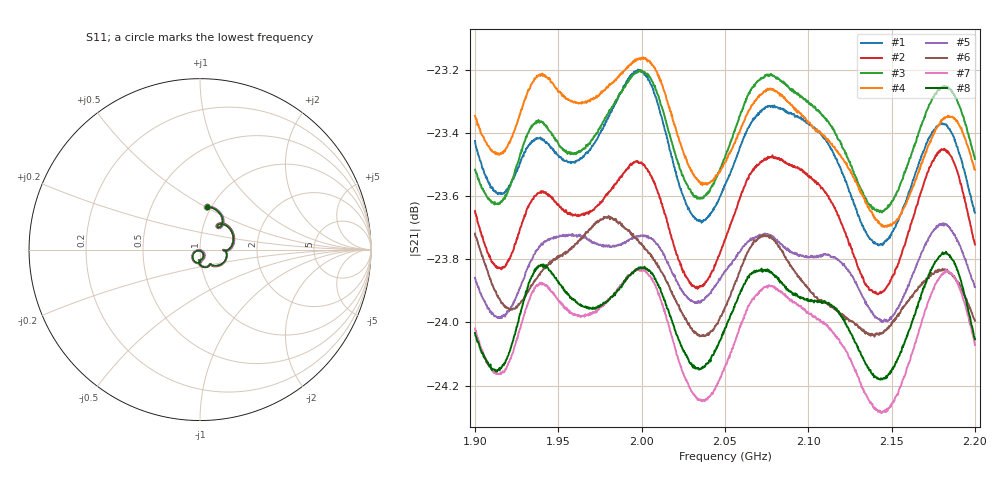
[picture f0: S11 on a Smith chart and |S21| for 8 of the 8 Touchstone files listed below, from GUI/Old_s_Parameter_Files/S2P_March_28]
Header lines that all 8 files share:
# Hz S RI R 50
! CMT, CMT808U, 21440046, 21.4.3/4
! Data: Format (Calibration Info)
! Freq	S11:Re/Im(F2)	S41:Re/Im(F2)	S14:Re/Im(F2)	S44:Re/Im(F2)
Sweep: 1.9 GHz to 2.2 GHz
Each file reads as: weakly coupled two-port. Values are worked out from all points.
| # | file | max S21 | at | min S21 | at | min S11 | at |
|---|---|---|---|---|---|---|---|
| 1 | Port2.s2p | -23.20 dB | 1.998 GHz | -23.8 dB | 2.142 GHz | -43.0 dB | 2.178 GHz |
| 2 | Port4.s2p | -23.45 dB | 2.182 GHz | -23.9 dB | 2.142 GHz | -43.0 dB | 2.177 GHz |
| 3 | Port5.s2p | -23.20 dB | 1.999 GHz | -23.7 dB | 2.144 GHz | -42.5 dB | 2.177 GHz |
| 4 | Port6.s2p | -23.16 dB | 2.001 GHz | -23.7 dB | 2.146 GHz | -42.7 dB | 2.177 GHz |
| 5 | Port9.s2p | -23.69 dB | 2.181 GHz | -24.0 dB | 2.144 GHz | -62.9 dB | 2.176 GHz |
| 6 | Port12.s2p | -23.66 dB | 1.98 GHz | -24.0 dB | 2.14 GHz | -46.2 dB | 2.176 GHz |
| 7 | Port15.s2p | -23.83 dB | 1.999 GHz | -24.3 dB | 2.144 GHz | -44.0 dB | 2.178 GHz |
| 8 | Port16.s2p | -23.78 dB | 2.183 GHz | -24.2 dB | 2.143 GHz | -43.1 dB | 2.177 GHz |
